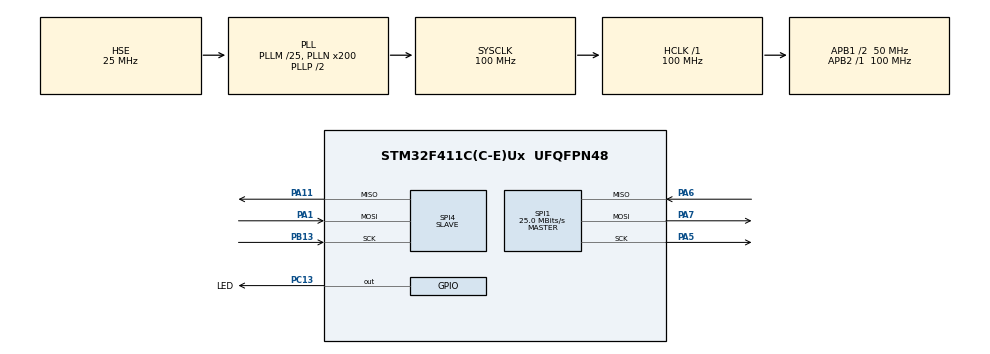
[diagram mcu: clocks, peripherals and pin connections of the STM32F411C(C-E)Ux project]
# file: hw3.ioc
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Mcu.Family=STM32F4
Mcu.Name=STM32F411C(C-E)Ux
Mcu.Package=UFQFPN48
NVIC.PriorityGroup=NVIC_PRIORITYGROUP_4
NVIC.SPI1_IRQn=true\:0\:0\:false\:false\:true\:true\:true\:true
NVIC.SPI4_IRQn=true\:0\:0\:false\:false\:true\:true\:true\:true
PA1.GPIO_PuPd=GPIO_PULLUP
PA1.Mode=Full_Duplex_Slave
PA1.Signal=SPI4_MOSI
PA11.GPIO_PuPd=GPIO_PULLUP
PA11.Mode=Full_Duplex_Slave
PA11.Signal=SPI4_MISO
PA13.Signal=SYS_JTMS-SWDIO
PA5.GPIO_PuPd=GPIO_PULLUP
PA5.Mode=Full_Duplex_Master
PA5.Signal=SPI1_SCK
PA6.GPIO_PuPd=GPIO_PULLUP
PA6.Mode=Full_Duplex_Master
PA6.Signal=SPI1_MISO
PA7.GPIO_PuPd=GPIO_PULLUP
PA7.Mode=Full_Duplex_Master
PA7.Signal=SPI1_MOSI
PB13.GPIO_PuPd=GPIO_PULLUP
PB13.Mode=Full_Duplex_Slave
PB13.Signal=SPI4_SCK
PC13-ANTI_TAMP.GPIO_Label=LED
PC13-ANTI_TAMP.GPIO_PuPd=GPIO_PULLDOWN
PC13-ANTI_TAMP.PinState=GPIO_PIN_SET
PC13-ANTI_TAMP.Signal=GPIO_Output
PH0\ -\ OSC_IN.Mode=HSE-External-Oscillator
PH0\ -\ OSC_IN.Signal=RCC_OSC_IN
PH1\ -\ OSC_OUT.Mode=HSE-External-Oscillator
PH1\ -\ OSC_OUT.Signal=RCC_OSC_OUT
ProjectManager.HeapSize=0x200
ProjectManager.StackSize=0x400
ProjectManager.TargetToolchain=Makefile
RCC.48MHZClocksFreq_Value=50000000
RCC.AHBFreq_Value=100000000
RCC.APB1CLKDivider=RCC_HCLK_DIV2
RCC.APB1Freq_Value=50000000
RCC.APB1TimFreq_Value=100000000
RCC.APB2Freq_Value=100000000
RCC.APB2TimFreq_Value=100000000
RCC.CortexFreq_Value=100000000
RCC.HCLKFreq_Value=100000000
RCC.HSE_VALUE=25000000
RCC.HSI_VALUE=16000000
RCC.LSE_VALUE=32768
RCC.PLLM=25
RCC.PLLN=200
RCC.PLLSourceVirtual=RCC_PLLSOURCE_HSE
RCC.PWR_Regulator_Voltage_Scale=PWR_REGULATOR_VOLTAGE_SCALE1
RCC.SYSCLKFreq_VALUE=100000000
RCC.SYSCLKSource=RCC_SYSCLKSOURCE_PLLCLK
RCC.VCOOutputFreq_Value=200000000
SPI1.BaudRatePrescaler=SPI_BAUDRATEPRESCALER_4
SPI1.CLKPhase=SPI_PHASE_2EDGE
SPI1.CLKPolarity=SPI_POLARITY_HIGH
SPI1.CalculateBaudRate=25.0 MBits/s
SPI1.Direction=SPI_DIRECTION_2LINES
SPI1.Mode=SPI_MODE_MASTER
SPI1.VirtualType=VM_MASTER
SPI4.CLKPhase=SPI_PHASE_2EDGE
SPI4.CLKPolarity=SPI_POLARITY_HIGH
SPI4.Direction=SPI_DIRECTION_2LINES
SPI4.Mode=SPI_MODE_SLAVE
SPI4.VirtualType=VM_SLAVE
board=custom

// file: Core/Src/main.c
/* USER CODE BEGIN Header */
/**
  ******************************************************************************
  * @file           : main.c
  * @brief          : Main program body
  ******************************************************************************
  * @attention
  *
  * Copyright (c) 2026 STMicroelectronics.
  * All rights reserved.
  *
  * This software is licensed under terms that can be found in the LICENSE file
  * in the root directory of this software component.
  * If no LICENSE file comes with this software, it is provided AS-IS.
  *
  ******************************************************************************
  */
/* USER CODE END Header */
#include "main.h"
#include "spi.h"
#include "gpio.h"

/* USER CODE BEGIN Includes */
#include "string.h"
#include "led.h"
/* USER CODE END Includes */

/* USER CODE BEGIN PM */
#define BAUD_RATE 115200ULL
/* USER CODE END PM */

/* USER CODE BEGIN PV */
volatile uint8_t spi1Complete = 0;
volatile uint8_t spi4Complete = 0;

char str[256] = {0};
uint8_t str_len = 0;
uint8_t spi1_buffer[16] = {0};
uint8_t spi4_buffer[16] = {0};
char inttostrbuf[11] = {0};
LED_t led;
char* baudrate_str = NULL;

/* USER CODE END PV */

void SystemClock_Config(void);
/* USER CODE BEGIN PFP */
char* uint32_to_str(uint32_t val, char* buf);
const char* spi_state_to_str(HAL_SPI_StateTypeDef state);

/* USER CODE END PFP */

int main(void)
{

  /* MCU Configuration--------------------------------------------------------*/

  /* Reset of all peripherals, Initializes the Flash interface and the Systick. */
  HAL_Init();

  /* Configure the system clock */
  SystemClock_Config();

  /* Initialize all configured peripherals */
  MX_GPIO_Init();
  MX_SPI4_Init();
  MX_SPI1_Init();
  /* USER CODE BEGIN 2 */
  LED_Init(&led, LED_GPIO_Port, LED_Pin);
  BM_UART_Init(BAUD_RATE); // Custom self-made bare-metal init, no HAL USART drivers needed, disabled in CubeMX
  /* USER CODE END 2 */

  /* Infinite loop */
  /* USER CODE BEGIN WHILE */

  baudrate_str = uint32_to_str(BAUD_RATE, inttostrbuf);
  str_len = strlen(baudrate_str);
  BM_UART_Transmit("Serial output initiated: \0", 26);
  HAL_Delay(2);
  BM_UART_Transmit(baudrate_str, str_len);
  HAL_Delay(2);
  BM_UART_Transmit(" 8-N-1 \n\0", 9);
  HAL_Delay(2);
  led.enable = ON;

  HAL_SPI_Receive_IT(&hspi4, spi4_buffer, 16);
  HAL_Delay(1);

  BM_UART_Transmit("One way communication:\n",24);
  HAL_Delay(2);
  BM_UART_Transmit("Sending from SPI1 (master) to SPI4 (slave) ABCDEF0123456789\n",61);
  HAL_Delay(2);
  // Just HAL_SPI_Transmit() performs an unhandled behaviour because of parasitic bytes
  // flow backwards from slave to master and cause an Overrun fault because are not consumed
  HAL_SPI_TransmitReceive(&hspi1, (const uint8_t *)"ABCDEF0123456789", spi1_buffer, 16, 5);

  HAL_Delay(5);

  if (spi4Complete) {
    BM_UART_Transmit("Received by SPI4: ",19);
    HAL_Delay(2);
    BM_UART_Transmit((char*)spi4_buffer, sizeof(spi4_buffer));
    HAL_Delay(2);
    BM_UART_Transmit("\n", 2);
    HAL_Delay(1);
  } else {
    BM_UART_Transmit("SPI comm timeout!\n",19);
    HAL_Delay(2);
  }

  BM_UART_Transmit("Sending from SPI4 (slave) to SPI1 (master) 9876543210FEDCBA\n",61);
  HAL_Delay(4);

  HAL_SPI_Transmit_IT(&hspi4, (const uint8_t *)"9876543210FEDCBA", 16);
  HAL_Delay(1);
  // HAL_SPI_receive() calls HAL_SPI_TransmitReceive() for master
  // from stm32f4xx_hal_spi.c background automatically if Full Duplex mode is selected
  HAL_SPI_Receive(&hspi1, spi1_buffer, 16, 5);
  HAL_Delay(5);
  if (spi4Complete) {
    BM_UART_Transmit("Received by SPI1: ",19);
    HAL_Delay(2);
    BM_UART_Transmit((char*)spi1_buffer, sizeof(spi1_buffer));
    HAL_Delay(2);
    BM_UART_Transmit("\n", 2);
    HAL_Delay(1);
  } else {
    BM_UART_Transmit("SPI comm timeout!\n",19);
    HAL_Delay(2);
  }

  memset(spi1_buffer,0,16);
  memset(spi4_buffer,0,16);

  // Switching the roles of the interfaces:
  // let SPI4 to be a master; SPI1 - slave
  NVIC_DisableIRQ(SPI1_IRQn);
  NVIC_DisableIRQ(SPI4_IRQn);

  HAL_SPI_DeInit(&hspi1);
  HAL_SPI_DeInit(&hspi4);
  HAL_Delay(1);

  __HAL_RCC_SPI1_FORCE_RESET();
  __HAL_RCC_SPI4_FORCE_RESET();
  HAL_Delay(1);
  __HAL_RCC_SPI1_RELEASE_RESET();
  __HAL_RCC_SPI4_RELEASE_RESET();
  HAL_Delay(1);

  hspi1.Init.Mode = SPI_MODE_SLAVE;
  hspi4.Init.Mode = SPI_MODE_MASTER;
  hspi4.Init.BaudRatePrescaler = SPI_BAUDRATEPRESCALER_4;

  if(hspi1.State != HAL_SPI_STATE_RESET) {
    BM_UART_Transmit("SPI1 is not in RESET state before init!\n",41);
  }
  if(hspi4.State != HAL_SPI_STATE_RESET) {
    BM_UART_Transmit("SPI4 is not in RESET state before init!\n",41);
  }

  HAL_SPI_Init(&hspi1);
  HAL_SPI_Init(&hspi4);

  NVIC_ClearPendingIRQ(SPI1_IRQn);
  NVIC_ClearPendingIRQ(SPI4_IRQn);

  NVIC_EnableIRQ(SPI1_IRQn);
  NVIC_EnableIRQ(SPI4_IRQn);
  HAL_Delay(1);

  /* HOT SWITCH WITHOUT DeInit
  * The transmission actually works, but the LL config gets away from the HAL traced attributes
  * and causes some background HAL fault
  * I've tried to fix it manually, but the fault still appears
  * The main difference from the HAL reInit, that GPIO pins are not to be deinitialized,
  * using them as is
  */
 /*
  __HAL_SPI_DISABLE(&hspi1);
  __HAL_SPI_DISABLE(&hspi4);

  volatile uint32_t tmpreg;
  tmpreg = SPI1->SR;
  tmpreg = SPI1->DR;
  tmpreg = SPI4->SR;
  tmpreg = SPI4->DR;
  (void)tmpreg;

  hspi1.Init.Mode = SPI_MODE_SLAVE;
  hspi4.Init.Mode = SPI_MODE_MASTER;
  hspi4.Init.BaudRatePrescaler = SPI_BAUDRATEPRESCALER_2;

  // Clear the Master (MSTR) bit on SPI1, Set it on SPI4
  // Ensure Software Slave Management (SSM) remains active
  SPI1->CR1 = (SPI1->CR1 & ~SPI_CR1_MSTR) | SPI_CR1_SSM;
  SPI4->CR1 = (SPI4->CR1 | SPI_CR1_MSTR)  | SPI_CR1_SSM;

  // Master (SPI4) needs SSI=1 to prevent Mode Faults. Slave (SPI1) needs SSI=0.
  SET_BIT(SPI4->CR1, SPI_CR1_SSI);
  CLEAR_BIT(SPI1->CR1, SPI_CR1_SSI);

  hspi1.Init.Mode = SPI_MODE_SLAVE;
  hspi4.Init.Mode = SPI_MODE_MASTER;

  __HAL_SPI_ENABLE(&hspi1);
  __HAL_SPI_ENABLE(&hspi4);
  HAL_Delay(5);

  // There was a try to flush the DR and SR registers while the SPI instances had been configured
  // in uni-directional mode (Transmit only/Receive only) but it doesn't help, only the switch to the
  // Full Duplex mode led to success.

  volatile uint32_t flush_dr;
  volatile uint32_t flush_sr;
  uint32_t count = 10000000;

  while ((SPI1->SR & (SPI_SR_OVR | SPI_SR_RXNE)) && count ) {
      flush_dr = SPI1->DR;
      flush_sr = SPI1->SR;
      count--;
  }

  if (SPI1->SR & (SPI_SR_OVR | SPI_SR_RXNE)) {
    BM_UART_Transmit((char *)"SPI1 DR/SR register flush fault!\n\0", 34);
  }

   count = 100;
  while ((SPI4->SR & (SPI_SR_OVR | SPI_SR_RXNE)) && count ) {
      flush_dr = SPI4->DR;
      flush_sr = SPI4->SR;
      count--;
  }
  (void)flush_dr;
  (void)flush_sr;

  if (SPI4->SR & (SPI_SR_OVR | SPI_SR_RXNE)) {
    BM_UART_Transmit((char *)"SPI4 DR/SR register flush fault!\n\0", 34);
  }

  // Clear tracking errors so HAL driver handles accept incoming requests cleanly
  hspi1.State     = HAL_SPI_STATE_READY;
  hspi4.State     = HAL_SPI_STATE_READY;
  hspi1.ErrorCode = HAL_SPI_ERROR_NONE;
  hspi4.ErrorCode = HAL_SPI_ERROR_NONE;
  // Flush the NVIC channels
  NVIC_ClearPendingIRQ(SPI1_IRQn);
  NVIC_ClearPendingIRQ(SPI4_IRQn);
  HAL_Delay(1);
  */

  spi1Complete = 0;
  spi4Complete = 0;
  // Check HAL state
  if (hspi1.State != HAL_SPI_STATE_READY) {
    BM_UART_Transmit("HAL SPI1 Handle Blocked! SPI1 state = ", 38);
    HAL_Delay(5);
    const char* spi1state = spi_state_to_str(hspi1.State);
    BM_UART_Transmit((char*)spi1state, strlen((char*)spi1state));
    HAL_Delay(2);
  }
  if (hspi4.State != HAL_SPI_STATE_READY) {
    BM_UART_Transmit("HAL SPI4 Handle Blocked! SPI4 state = ", 38);
    HAL_Delay(5);
    const char* spi4state = spi_state_to_str(hspi4.State);
    BM_UART_Transmit((char*)spi4state, strlen((char*)spi4state));
    HAL_Delay(2);
  }

  BM_UART_Transmit("The master-slave roles are switched.\n",38);
  HAL_Delay(3);
  BM_UART_Transmit("Two ways communication, package exchange between:\n",51);
  HAL_Delay(4);
  BM_UART_Transmit("SPI4 (master, sending 0123456789ABCDEF);\n",42);
  HAL_Delay(3);
  BM_UART_Transmit("SPI1 (slave, sending FEDCBA9876543210);\n",41);
  HAL_Delay(3);
  HAL_SPI_TransmitReceive_IT(&hspi1, (const uint8_t *)"FEDCBA9876543210", spi1_buffer, 16);
  HAL_Delay(1);
  HAL_SPI_TransmitReceive(&hspi4, (const uint8_t *)"0123456789ABCDEF", spi4_buffer, 16, 5);
  HAL_Delay(5);
  if (spi1Complete) {
    BM_UART_Transmit("Received by SPI1\n",18);
    HAL_Delay(2);
    BM_UART_Transmit((char*)spi1_buffer, sizeof(spi1_buffer));
    HAL_Delay(2);
    BM_UART_Transmit("\n", 2);
    HAL_Delay(2);
    BM_UART_Transmit("Received by SPI4\n",18);
    HAL_Delay(2);
    BM_UART_Transmit((char*)spi4_buffer, sizeof(spi4_buffer));
    HAL_Delay(2);
    BM_UART_Transmit("\n", 2);
    HAL_Delay(1);
  } else {
    BM_UART_Transmit("SPI comm timeout!\n",19);
    HAL_Delay(2);
  }

  while(1)
  {
    led.blink = 200;
    LED_Handler(&led, HAL_GetTick());
    HAL_Delay(1);
    /* USER CODE END WHILE */

  }
}

void SystemClock_Config(void)
{
  RCC_OscInitTypeDef RCC_OscInitStruct = {0};
  RCC_ClkInitTypeDef RCC_ClkInitStruct = {0};

  /** Configure the main internal regulator output voltage
  */
  __HAL_RCC_PWR_CLK_ENABLE();
  __HAL_PWR_VOLTAGESCALING_CONFIG(PWR_REGULATOR_VOLTAGE_SCALE1);

  /** Initializes the RCC Oscillators according to the specified parameters
  * in the RCC_OscInitTypeDef structure.
  */
  RCC_OscInitStruct.OscillatorType = RCC_OSCILLATORTYPE_HSE;
  RCC_OscInitStruct.HSEState = RCC_HSE_ON;
  RCC_OscInitStruct.PLL.PLLState = RCC_PLL_ON;
  RCC_OscInitStruct.PLL.PLLSource = RCC_PLLSOURCE_HSE;
  RCC_OscInitStruct.PLL.PLLM = 25;
  RCC_OscInitStruct.PLL.PLLN = 200;
  RCC_OscInitStruct.PLL.PLLP = RCC_PLLP_DIV2;
  RCC_OscInitStruct.PLL.PLLQ = 4;
  if (HAL_RCC_OscConfig(&RCC_OscInitStruct) != HAL_OK)
  {
    Error_Handler();
  }

  /** Initializes the CPU, AHB and APB buses clocks
  */
  RCC_ClkInitStruct.ClockType = RCC_CLOCKTYPE_HCLK|RCC_CLOCKTYPE_SYSCLK
                              |RCC_CLOCKTYPE_PCLK1|RCC_CLOCKTYPE_PCLK2;
  RCC_ClkInitStruct.SYSCLKSource = RCC_SYSCLKSOURCE_PLLCLK;
  RCC_ClkInitStruct.AHBCLKDivider = RCC_SYSCLK_DIV1;
  RCC_ClkInitStruct.APB1CLKDivider = RCC_HCLK_DIV2;
  RCC_ClkInitStruct.APB2CLKDivider = RCC_HCLK_DIV1;

  if (HAL_RCC_ClockConfig(&RCC_ClkInitStruct, FLASH_LATENCY_3) != HAL_OK)
  {
    Error_Handler();
  }
}

/* USER CODE BEGIN 4 */

void HAL_SPI_TxRxCpltCallback(SPI_HandleTypeDef *hspi) {
  if(hspi->Instance == SPI1) {
    spi1Complete = 1;
  }
  if(hspi->Instance == SPI4) {
    spi4Complete = 1;
  }
}

void HAL_SPI_RxCpltCallback(SPI_HandleTypeDef *hspi) {
  if(hspi->Instance == SPI1) {
    spi1Complete = 1;
  }
  if(hspi->Instance == SPI4) {
    spi4Complete = 1;
  }
}

void HAL_SPI_TxCpltCallback(SPI_HandleTypeDef *hspi) {
  if(hspi->Instance == SPI1) {
    spi1Complete = 1;
  }
  if(hspi->Instance == SPI4) {
    spi4Complete = 1;
  }
}

// Convert a uint32_t into a null-terminated string array
char* uint32_to_str(uint32_t val, char* buf) {
    int i = 10;
    buf[i] = '\0';
    if (val == 0) {
        buf[--i] = '0';
    } else {
        while (val > 0 && i > 0) {
            buf[--i] = '0' + (val % 10);
            val /= 10;
        }
    }
    return &buf[i]; // Return the pointer to where the number actually begins
}

const char* spi_state_to_str(HAL_SPI_StateTypeDef state) {
  switch (state) {
    case HAL_SPI_STATE_RESET:      return "RESET\n";       // 0x00
    case HAL_SPI_STATE_READY:      return "READY\n";       // 0x01
    case HAL_SPI_STATE_BUSY:       return "BUSY\n";        // 0x02
    case HAL_SPI_STATE_BUSY_TX:    return "BUSY_TX\n";     // 0x03
    case HAL_SPI_STATE_BUSY_RX:    return "BUSY_RX\n";     // 0x04
    case HAL_SPI_STATE_BUSY_TX_RX: return "BUSY_TX_RX\n";  // 0x05
    case HAL_SPI_STATE_ERROR:      return "ERROR\n";       // 0x06
    case HAL_SPI_STATE_ABORT:      return "ABORT\n";       // 0x07
    default:                       return "CRITICAL_ERR\n";
  }
}
/* USER CODE END 4 */

void Error_Handler(void)
{
  __disable_irq();
  while (1)
  {
  }
}
